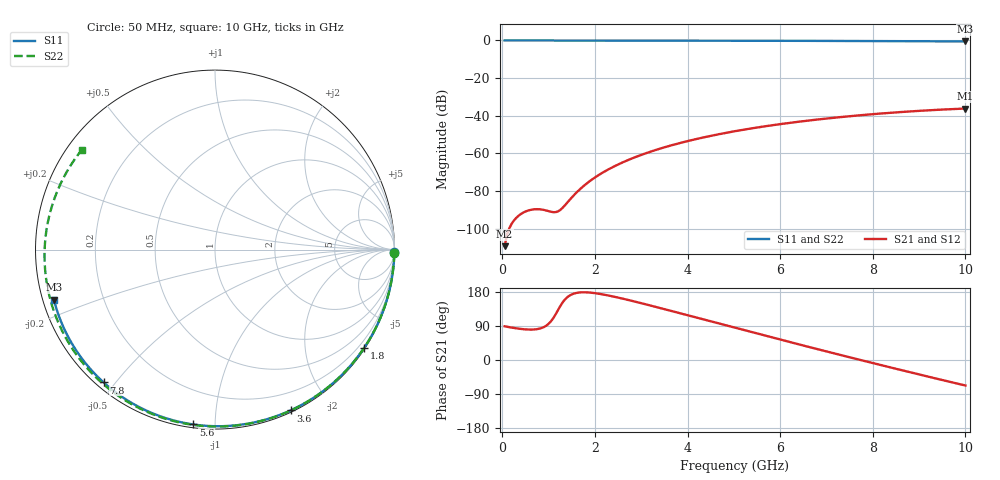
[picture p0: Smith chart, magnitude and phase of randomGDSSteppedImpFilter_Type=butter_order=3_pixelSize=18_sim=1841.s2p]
! freq	dB(S11)	phase(S11)	dB(S12)	phase(S12)
!  dB(S21)	phase(S21)	dB(S22)	phase(S22)
!S-par simulation data
#  GHz  S  DB  R 50
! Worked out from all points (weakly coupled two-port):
!   200 points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, 50 MHz to 10 GHz, reference 50 ohm
!   highest |S21| = -36.14 dB at 10 GHz (marker M1); lowest = -109.2 dB at 50 MHz (marker M2)
!   lowest |S11| = -0.5 dB at 10 GHz (marker M3), VSWR 32.39, Z = 1.58 - j7.6 ohm
!   |S11| at or under -10 dB: nowhere
!   |S22| runs from -0.7 to 0.0 dB; largest |S21 - S12| = 0
!   S11 on the Smith chart (normalised r, x): 50 MHz: open; 1.8 GHz: 0.03, -3.34; 3.6 GHz: 0.02, -1.58; 5.6 GHz: 0.02, -0.88; 7.8 GHz: 0.02, -0.47; 10 GHz: 0.03, -0.15
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0.05  -0.00 -0.9  -109.20 88.9  -109.20 88.9  -0.00 -1.2
0.8  -0.02 -15.0  -89.61 82.6  -89.61 82.6  -0.02 -18.9
1.6  -0.04 -29.7  -80.78 177.0  -80.78 177.0  -0.05 -37.5
1.65  -0.04 -30.6  -79.59 178.0  -79.59 178.0  -0.05 -38.6
1.75  -0.04 -32.4  -77.39 178.7  -77.39 178.7  -0.05 -40.9
1.8  -0.04 -33.3  -76.37 178.6  -76.37 178.6  -0.05 -42.1
2.1  -0.05 -38.7  -71.16 174.6  -71.16 174.6  -0.06 -48.8
2.45  -0.06 -45.0  -66.44 166.1  -66.44 166.1  -0.07 -56.6
2.9  -0.07 -52.8  -61.67 153.0  -61.67 153.0  -0.09 -66.5
3.4  -0.08 -61.4  -57.47 137.4  -57.47 137.4  -0.10 -77.2
3.6  -0.09 -64.8  -56.02 131.0  -56.02 131.0  -0.11 -81.4
4.3  -0.11 -76.4  -51.71 108.5  -51.71 108.5  -0.13 -95.8
5.05  -0.14 -88.5  -48.06 84.2  -48.06 84.2  -0.17 -110.9
5.6  -0.16 -97.0  -45.84 66.6  -45.84 66.6  -0.20 -121.8
6.7  -0.22 -113.7  -42.26 31.9  -42.26 31.9  -0.28 -143.5
7.25  -0.26 -121.9  -40.81 14.9  -40.81 14.9  -0.33 -154.5
7.8  -0.30 -129.9  -39.55 -2.0  -39.55 -2.0  -0.38 -165.8
8.35  -0.35 -138.0  -38.46 -18.6  -38.46 -18.6  -0.44 -177.5
8.8  -0.40 -144.6  -37.68 -32.1  -37.68 -32.1  -0.49 172.5
9.2  -0.44 -150.6  -37.08 -44.0  -37.08 -44.0  -0.54 163.2
9.6  -0.49 -156.6  -36.57 -55.7  -36.57 -55.7  -0.60 153.5
10  -0.54 -162.7  -36.14 -67.3  -36.14 -67.3  -0.66 143.2
